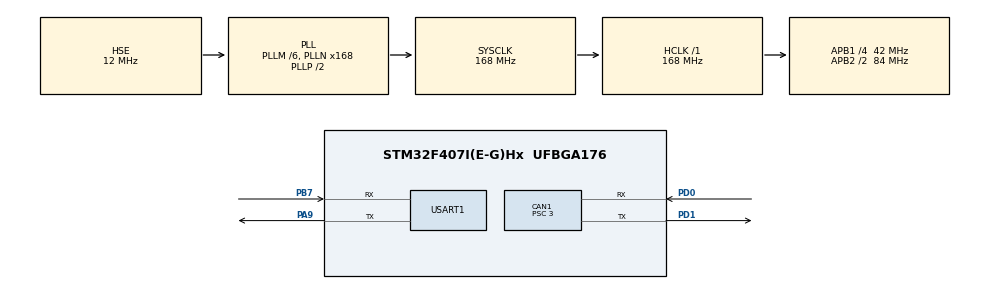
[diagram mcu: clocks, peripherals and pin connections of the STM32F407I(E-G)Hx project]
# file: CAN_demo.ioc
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CAN1.ABOM=DISABLE
CAN1.BS1=CAN_BS1_9TQ
CAN1.BS2=CAN_BS2_4TQ
CAN1.CalculateBaudRate=1000000
CAN1.CalculateTimeBit=1000
CAN1.CalculateTimeQuantum=71.42857142857143
CAN1.NART=DISABLE
CAN1.Prescaler=3
CAN1.RFLM=DISABLE
FREERTOS.INCLUDE_vTaskDelayUntil=1
FREERTOS.Tasks01=defaultTask,0,128,StartDefaultTask,Default,NULL,Dynamic,NULL,NULL;myTask02,1,256,Gimbal_task,As weak,NULL,Dynamic,NULL,NULL;myTask03,0,512,print,As weak,NULL,Dynamic,NULL,NULL
FREERTOS.configENABLE_FPU=1
FREERTOS.configUSE_NEWLIB_REENTRANT=1
Mcu.Family=STM32F4
Mcu.Name=STM32F407I(E-G)Hx
Mcu.Package=UFBGA176
NVIC.CAN1_RX0_IRQn=true\:5\:0\:false\:false\:true\:true\:true\:true\:true
NVIC.PriorityGroup=NVIC_PRIORITYGROUP_4
NVIC.TIM1_UP_TIM10_IRQn=true\:15\:0\:false\:false\:true\:false\:false\:true\:true
NVIC.TimeBase=TIM1_UP_TIM10_IRQn
NVIC.TimeBaseIP=TIM10
NVIC.USART1_IRQn=true\:5\:0\:false\:false\:true\:true\:true\:true\:true
PA13.Mode=Serial_Wire
PA13.Signal=SYS_JTMS-SWDIO
PA14.Mode=Serial_Wire
PA14.Signal=SYS_JTCK-SWCLK
PA9.Mode=Asynchronous
PA9.Signal=USART1_TX
PB7.Mode=Asynchronous
PB7.Signal=USART1_RX
PD0.Mode=CAN_Activate
PD0.Signal=CAN1_RX
PD1.Mode=CAN_Activate
PD1.Signal=CAN1_TX
PH0-OSC_IN.Mode=HSE-External-Oscillator
PH0-OSC_IN.Signal=RCC_OSC_IN
PH1-OSC_OUT.Mode=HSE-External-Oscillator
PH1-OSC_OUT.Signal=RCC_OSC_OUT
ProjectManager.HeapSize=0x200
ProjectManager.StackSize=0x400
ProjectManager.TargetToolchain=CMake
RCC.48MHZClocksFreq_Value=84000000
RCC.AHBFreq_Value=168000000
RCC.APB1CLKDivider=RCC_HCLK_DIV4
RCC.APB1Freq_Value=42000000
RCC.APB1TimFreq_Value=84000000
RCC.APB2CLKDivider=RCC_HCLK_DIV2
RCC.APB2Freq_Value=84000000
RCC.APB2TimFreq_Value=168000000
RCC.CortexFreq_Value=168000000
RCC.HCLKFreq_Value=168000000
RCC.HSE_VALUE=12000000
RCC.HSI_VALUE=16000000
RCC.LSE_VALUE=32768
RCC.PLLM=6
RCC.PLLN=168
RCC.PLLSourceVirtual=RCC_PLLSOURCE_HSE
RCC.SYSCLKFreq_VALUE=168000000
RCC.SYSCLKSource=RCC_SYSCLKSOURCE_PLLCLK
RCC.VCOOutputFreq_Value=336000000
USART1.VirtualMode=VM_ASYNC
VP_FREERTOS_VS_CMSIS_V1.Mode=CMSIS_V1
VP_SYS_VS_tim10.Mode=TIM10
board=custom

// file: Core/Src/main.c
/* USER CODE BEGIN Header */
/**
  ******************************************************************************
  * @file           : main.c
  * @brief          : Main program body
  ******************************************************************************
  * @attention
  *
  * Copyright (c) 2026 STMicroelectronics.
  * All rights reserved.
  *
  * This software is licensed under terms that can be found in the LICENSE file
  * in the root directory of this software component.
  * If no LICENSE file comes with this software, it is provided AS-IS.
  *
  ******************************************************************************
  */
/* USER CODE END Header */
#include "main.h"
#include "cmsis_os.h"

/* USER CODE BEGIN Includes */
#include "canio.h"
#include "gm6020.h"
#include "task.h"
#include "vofa.h"
/* USER CODE END Includes */

CAN_HandleTypeDef hcan1;
UART_HandleTypeDef huart1;

osThreadId defaultTaskHandle;
osThreadId myTask02Handle;
osThreadId myTask03Handle;

void SystemClock_Config(void);
static void MX_GPIO_Init(void);
static void MX_CAN1_Init(void);
static void MX_USART1_UART_Init(void);
void StartDefaultTask(void const * argument);
void Gimbal_task(void const * argument);
void print(void const * argument);

int main(void)
{

  /* MCU Configuration--------------------------------------------------------*/

  /* Reset of all peripherals, Initializes the Flash interface and the Systick. */
  HAL_Init();

  /* Configure the system clock */
  SystemClock_Config();

  /* Initialize all configured peripherals */
  MX_GPIO_Init();
  MX_CAN1_Init();
  MX_USART1_UART_Init();
  /* USER CODE BEGIN 2 */

  GM6020_Init(&motor[1], 1U);
  GM6020_Init(&motor[2], 2U);

  /* 初始化 CAN 通信模块（配置滤波器、启动外设、使能中断） */
  canio_init();

  if (VOFA_Init(&vofa, &huart1) != HAL_OK)
  {
    Error_Handler();
  }

  /* USER CODE END 2 */

  /* Create the thread(s) */
  /* definition and creation of defaultTask */
  osThreadDef(defaultTask, StartDefaultTask, osPriorityNormal, 0, 128);
  defaultTaskHandle = osThreadCreate(osThread(defaultTask), NULL);

  /* definition and creation of myTask02 */
  osThreadDef(myTask02, Gimbal_task, osPriorityAboveNormal, 0, 256);
  myTask02Handle = osThreadCreate(osThread(myTask02), NULL);

  /* definition and creation of myTask03 */
  osThreadDef(myTask03, print, osPriorityNormal, 0, 512);
  myTask03Handle = osThreadCreate(osThread(myTask03), NULL);

  /* Start scheduler */
  osKernelStart();

  /* We should never get here as control is now taken by the scheduler */

  /* Infinite loop */
  while (1)
  {

  }
}

void SystemClock_Config(void)
{
  RCC_OscInitTypeDef RCC_OscInitStruct = {0};
  RCC_ClkInitTypeDef RCC_ClkInitStruct = {0};

  /** Configure the main internal regulator output voltage
  */
  __HAL_RCC_PWR_CLK_ENABLE();
  __HAL_PWR_VOLTAGESCALING_CONFIG(PWR_REGULATOR_VOLTAGE_SCALE1);

  /** Initializes the RCC Oscillators according to the specified parameters
  * in the RCC_OscInitTypeDef structure.
  */
  RCC_OscInitStruct.OscillatorType = RCC_OSCILLATORTYPE_HSE;
  RCC_OscInitStruct.HSEState = RCC_HSE_ON;
  RCC_OscInitStruct.PLL.PLLState = RCC_PLL_ON;
  RCC_OscInitStruct.PLL.PLLSource = RCC_PLLSOURCE_HSE;
  RCC_OscInitStruct.PLL.PLLM = 6;
  RCC_OscInitStruct.PLL.PLLN = 168;
  RCC_OscInitStruct.PLL.PLLP = RCC_PLLP_DIV2;
  RCC_OscInitStruct.PLL.PLLQ = 4;
  if (HAL_RCC_OscConfig(&RCC_OscInitStruct) != HAL_OK)
  {
    Error_Handler();
  }

  /** Initializes the CPU, AHB and APB buses clocks
  */
  RCC_ClkInitStruct.ClockType = RCC_CLOCKTYPE_HCLK|RCC_CLOCKTYPE_SYSCLK
                              |RCC_CLOCKTYPE_PCLK1|RCC_CLOCKTYPE_PCLK2;
  RCC_ClkInitStruct.SYSCLKSource = RCC_SYSCLKSOURCE_PLLCLK;
  RCC_ClkInitStruct.AHBCLKDivider = RCC_SYSCLK_DIV1;
  RCC_ClkInitStruct.APB1CLKDivider = RCC_HCLK_DIV4;
  RCC_ClkInitStruct.APB2CLKDivider = RCC_HCLK_DIV2;

  if (HAL_RCC_ClockConfig(&RCC_ClkInitStruct, FLASH_LATENCY_5) != HAL_OK)
  {
    Error_Handler();
  }
}

static void MX_CAN1_Init(void)
{

  hcan1.Instance = CAN1;
  hcan1.Init.Prescaler = 3;
  hcan1.Init.Mode = CAN_MODE_NORMAL;
  hcan1.Init.SyncJumpWidth = CAN_SJW_1TQ;
  hcan1.Init.TimeSeg1 = CAN_BS1_9TQ;
  hcan1.Init.TimeSeg2 = CAN_BS2_4TQ;
  hcan1.Init.TimeTriggeredMode = DISABLE;
  hcan1.Init.AutoBusOff = DISABLE;
  hcan1.Init.AutoWakeUp = DISABLE;
  hcan1.Init.AutoRetransmission = DISABLE;
  hcan1.Init.ReceiveFifoLocked = DISABLE;
  hcan1.Init.TransmitFifoPriority = DISABLE;
  if (HAL_CAN_Init(&hcan1) != HAL_OK)
  {
    Error_Handler();
  }

}

static void MX_USART1_UART_Init(void)
{
  huart1.Instance = USART1;
  huart1.Init.BaudRate = 115200;
  huart1.Init.WordLength = UART_WORDLENGTH_8B;
  huart1.Init.StopBits = UART_STOPBITS_1;
  huart1.Init.Parity = UART_PARITY_NONE;
  huart1.Init.Mode = UART_MODE_TX_RX;
  huart1.Init.HwFlowCtl = UART_HWCONTROL_NONE;
  huart1.Init.OverSampling = UART_OVERSAMPLING_16;
  if (HAL_UART_Init(&huart1) != HAL_OK)
  {
    Error_Handler();
  }
}

static void MX_GPIO_Init(void)
{

  /* GPIO Ports Clock Enable */
  __HAL_RCC_GPIOB_CLK_ENABLE();
  __HAL_RCC_GPIOA_CLK_ENABLE();
  __HAL_RCC_GPIOH_CLK_ENABLE();

}

void StartDefaultTask(void const * argument)
{
  for(;;)
  {
    osDelay(1);
  }
}

__weak void Gimbal_task(void const * argument)
{
  /* USER CODE BEGIN Gimbal_task */
  TickType_t last_wake_time = xTaskGetTickCount();
  const TickType_t period = pdMS_TO_TICKS(2U);

  for(;;)
  {
    int16_t control_output = GM6020_CalculateControl(&motor[2], HAL_GetTick());

    /* Send one control frame every 2 ms, including zero output. */
    (void)GM6020_SendMotor2Control(control_output);
    vTaskDelayUntil(&last_wake_time, period);
  }
  /* USER CODE END Gimbal_task */
}

__weak void print(void const * argument)
{
  /* USER CODE BEGIN print */
  TickType_t last_wake_time = xTaskGetTickCount();
  const TickType_t period = pdMS_TO_TICKS(20U);

  for(;;)
  {
    VOFA_Process(&vofa, &motor[2]);
    (void)VOFA_SendTelemetry(&vofa, &motor[2], HAL_GetTick());
    vTaskDelayUntil(&last_wake_time, period);
  }
  /* USER CODE END print */
}

void HAL_TIM_PeriodElapsedCallback(TIM_HandleTypeDef *htim)
{
  if (htim->Instance == TIM10)
  {
    HAL_IncTick();
  }
}

void Error_Handler(void)
{
  __disable_irq();
  while (1)
  {
  }
}
